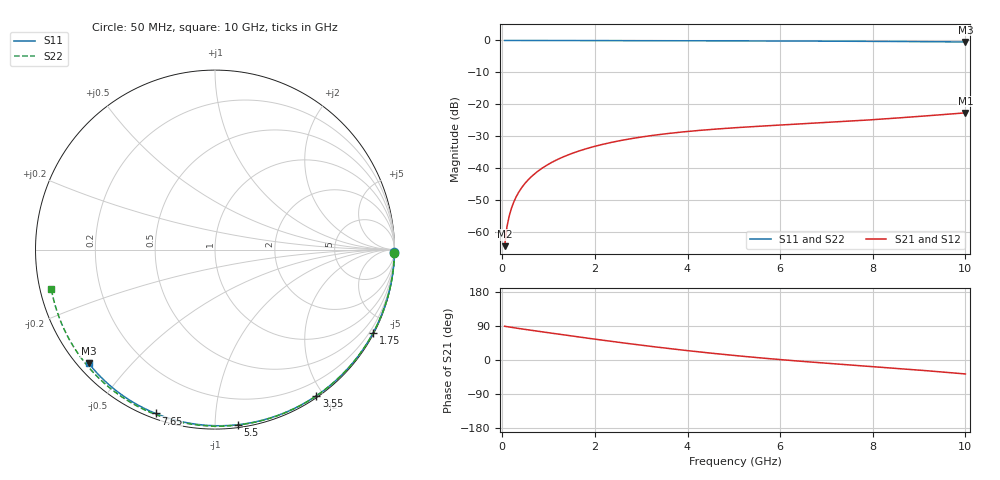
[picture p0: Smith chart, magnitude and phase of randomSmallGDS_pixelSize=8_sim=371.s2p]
! freq	dB(S11)	phase(S11)	dB(S12)	phase(S12)
!  dB(S21)	phase(S21)	dB(S22)	phase(S22)
!S-par simulation data
#  GHz  S  DB  R 50
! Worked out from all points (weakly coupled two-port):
!   200 points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, 50 MHz to 10 GHz, reference 50 ohm
!   highest |S21| = -22.73 dB at 10 GHz (marker M1); lowest = -64.6 dB at 50 MHz (marker M2)
!   lowest |S11| = -0.5 dB at 10 GHz (marker M3), VSWR 36.57, Z = 1.57 - j19.2 ohm
!   |S11| at or under -10 dB: nowhere
!   |S22| runs from -0.6 to 0.0 dB; largest |S21 - S12| = 0
!   S11 on the Smith chart (normalised r, x): 50 MHz: open; 1.75 GHz: 0.04, -4.02; 3.55 GHz: 0.02, -1.91; 5.5 GHz: 0.02, -1.14; 7.65 GHz: 0.02, -0.70; 10 GHz: 0.03, -0.38
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0.05  -0.00 -0.8  -64.58 89.0  -64.58 89.0  -0.00 -1.0
0.1  -0.00 -1.6  -58.57 88.0  -58.57 88.0  -0.00 -2.0
0.15  -0.00 -2.4  -55.06 87.0  -55.06 87.0  -0.00 -3.0
0.2  -0.00 -3.2  -52.57 86.0  -52.57 86.0  -0.00 -3.9
0.25  -0.00 -4.1  -50.65 85.1  -50.65 85.1  -0.00 -4.9
0.35  -0.00 -5.7  -47.76 83.3  -47.76 83.3  -0.01 -6.9
0.5  -0.01 -8.1  -44.71 80.6  -44.71 80.6  -0.01 -9.8
0.7  -0.01 -11.3  -41.84 77.1  -41.84 77.1  -0.02 -13.7
1  -0.02 -16.1  -38.83 71.9  -38.83 71.9  -0.02 -19.5
1.35  -0.03 -21.6  -36.35 65.9  -36.35 65.9  -0.03 -26.2
1.75  -0.04 -27.9  -34.26 59.2  -34.26 59.2  -0.04 -33.8
2.6  -0.06 -41.0  -31.30 45.3  -31.30 45.3  -0.07 -49.5
3.4  -0.07 -53.0  -29.52 33.2  -29.52 33.2  -0.09 -63.8
3.55  -0.08 -55.2  -29.26 31.0  -29.26 31.0  -0.09 -66.4
4.3  -0.10 -66.0  -28.18 20.7  -28.18 20.7  -0.12 -79.2
5.05  -0.12 -76.4  -27.38 11.5  -27.38 11.5  -0.15 -91.5
5.5  -0.14 -82.5  -26.98 6.4  -26.98 6.4  -0.17 -98.7
6.7  -0.20 -98.1  -26.01 -5.7  -26.01 -5.7  -0.23 -117.2
7.65  -0.26 -109.9  -25.20 -14.3  -25.20 -14.3  -0.30 -131.4
8.35  -0.31 -118.4  -24.53 -20.6  -24.53 -20.6  -0.37 -141.7
9.2  -0.39 -128.5  -23.63 -28.6  -23.63 -28.6  -0.46 -154.4
10  -0.48 -138.0  -22.73 -36.8  -22.73 -36.8  -0.56 -166.6
